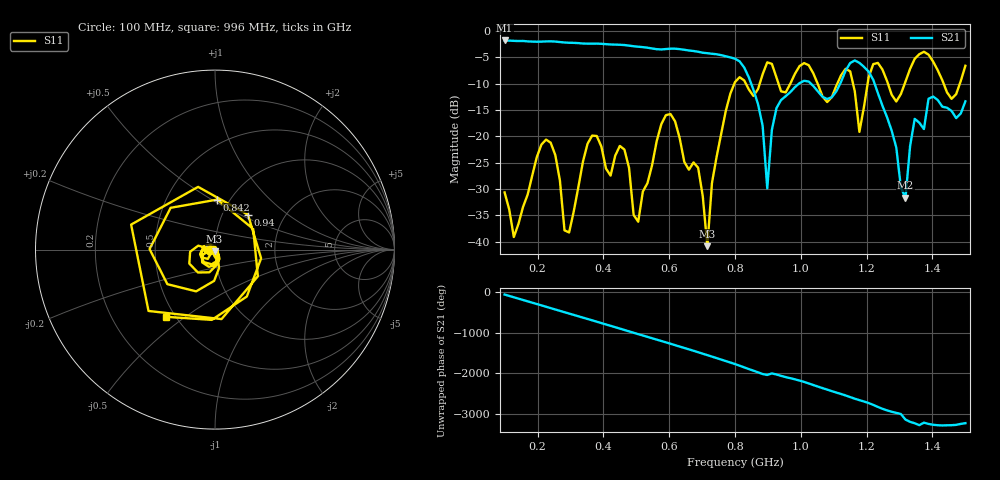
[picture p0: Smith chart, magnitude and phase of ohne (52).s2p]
! NanoVNA-App
! Date: 2025-09-25 14:21:12
! Start: 100MHz Stop: 1,5GHz Points: 101
! S-Parameter data: F S11 S21 S12 S22
# Hz S RI R 50
!  Frequency  S11_Real  S11_Imag  S21_Real  S21_Imag  S12_Real  S12_Imag  S22_Real  S22_Imag
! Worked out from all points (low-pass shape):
!   101 points, 100 MHz to 1.5 GHz, reference 50 ohm
!   highest |S21| = -1.79 dB at 100 MHz (marker M1); lowest = -31.7 dB at 1.318 GHz (marker M2)
!   |S21| within 3 dB of the highest: start of sweep to 771.6 MHz
!   lowest |S11| = -40.8 dB at 716 MHz (marker M3), VSWR 1.02, Z = 49.7 - j0.868 ohm
!   |S11| at or under -10 dB: start of sweep to 798 MHz; 833.1 MHz to 875.1 MHz (41.97 MHz wide, 4.91 % of centre); 1.051 GHz to 1.111 GHz (59.56 MHz wide, 5.51 % of centre) (the widest 3 of 7)
!   S12 and S22 are empty: the file has one direction only
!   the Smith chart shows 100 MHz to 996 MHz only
!   S11 on the Smith chart (normalised r, x): 100 MHz: 0.94, -0.01; 842 MHz: 0.88, +0.53; 940 MHz: 1.32, +0.55; 996 MHz: 0.44, -0.42
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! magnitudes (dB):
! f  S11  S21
! 100 MHz  -30.6  -1.8
! 128 MHz  -39.1  -1.9
! 226 MHz  -20.6  -2.0
! 296 MHz  -38.2  -2.2
! 338 MHz  -24.8  -2.4
! 464 MHz  -22.5  -2.7
! 506 MHz  -36.2  -3.0
! 576 MHz  -17.7  -3.5
! 688 MHz  -25.9  -3.9
! 716 MHz  -40.8  -4.2
! 800 MHz  -9.7  -5.3
! 842 MHz  -11.1  -8.8
! 898 MHz  -5.9  -29.9
! 940 MHz  -11.4  -13.1
! 996 MHz  -6.7  -9.9
! 1.038 GHz  -8.0  -10.4
! 1.178 GHz  -19.1  -6.0
! 1.22 GHz  -6.3  -9.3
! 1.276 GHz  -12.1  -18.9
! 1.318 GHz  -9.6  -31.7
! 1.346 GHz  -5.3  -16.7
! 1.5 GHz  -6.6  -13.3
